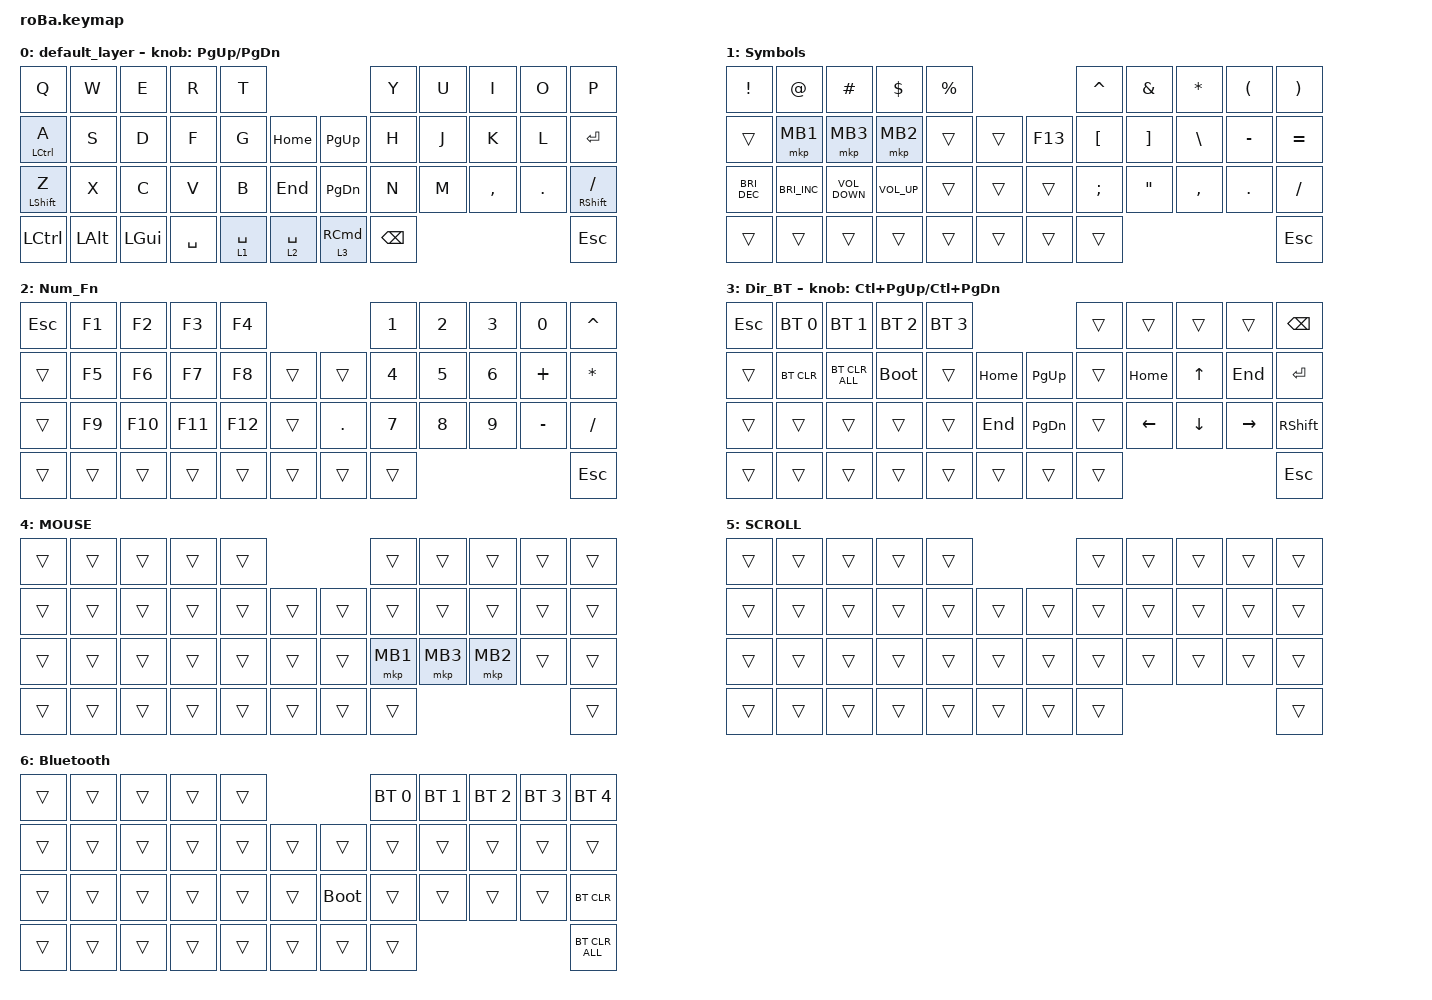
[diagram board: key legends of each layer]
#include <behaviors.dtsi>
#include <dt-bindings/zmk/bt.h>
#include <dt-bindings/zmk/keys.h>
#include <dt-bindings/zmk/pointing.h>

#define MOUSE 4
#define SCROLL 5
#define NUM 6

&mt {
    flavor = "balanced";
    quick-tap-ms = <0>;
};

/ {
    combos {
        compatible = "zmk,combos";

        tab {
            bindings = <&kp TAB>;
            key-positions = <11 12>;
        };

        shift_tab {
            bindings = <&kp LS(TAB)>;
            key-positions = <12 13>;
        };

        muhennkann {
            bindings = <&to_layer_0 INT_MUHENKAN>;
            key-positions = <11 10>;
        };

        double_quotation {
            bindings = <&kp DOUBLE_QUOTES>;
            key-positions = <20 21>;
        };

        eq {
            bindings = <&kp EQUAL>;
            key-positions = <24 25>;
        };
    };

    macros {
        to_layer_0: to_layer_0 {
            compatible = "zmk,behavior-macro-one-param";
            #binding-cells = <1>;
            bindings = <&to 0 &macro_param_1to1 &kp MACRO_PLACEHOLDER>;
            label = "TO_LAYER_0";
        };
    };

    behaviors {
        lt_to_layer_0: lt_to_layer_0 {
            compatible = "zmk,behavior-hold-tap";
            label = "LAYER_TAP_TO_0";
            bindings = <&mo>, <&to_layer_0>;

            #binding-cells = <2>;
            tapping-term-ms = <200>;
        };
    };

    keymap {
        compatible = "zmk,keymap";

        default_layer {
            bindings = <
&kp Q               &kp W         &kp E         &kp R      &kp T                                              &kp Y          &kp U  &kp I      &kp O       &kp P
&mt LEFT_CONTROL A  &kp S         &kp D         &kp F      &kp G        &kp HOME         &kp PAGE_UP          &kp H          &kp J  &kp K      &kp L       &kp ENTER
&mt LEFT_SHIFT Z    &kp X         &kp C         &kp V      &kp B        &kp END          &kp PAGE_DOWN        &kp N          &kp M  &kp COMMA  &kp PERIOD  &mt RIGHT_SHIFT SLASH
&kp LEFT_CONTROL    &kp LEFT_ALT  &kp LEFT_GUI  &kp SPACE  &lt 1 SPACE  &lt 2 SPACE      &lt 3 RIGHT_COMMAND  &kp BACKSPACE                                &kp ESC
            >;

            sensor-bindings = <&inc_dec_kp PG_UP PAGE_DOWN>;
        };

        Symbols {
            bindings = <
&kp EXCLAMATION       &kp AT_SIGN           &kp HASH           &kp DOLLAR       &kp PERCENT                       &kp CARET         &kp AMPERSAND      &kp ASTERISK   &kp LEFT_PARENTHESIS  &kp RIGHT_PARENTHESIS
&trans                &mkp MB1              &mkp MB3           &mkp MB2         &trans       &trans      &kp F13  &kp LEFT_BRACKET  &kp RIGHT_BRACKET  &kp BACKSLASH  &kp MINUS             &kp EQUAL
&kp C_BRIGHTNESS_DEC  &kp C_BRIGHTNESS_INC  &kp C_VOLUME_DOWN  &kp C_VOLUME_UP  &trans       &trans      &trans   &kp SEMICOLON     &kp DOUBLE_QUOTES  &kp COMMA      &kp PERIOD            &kp SLASH
&trans                &trans                &trans             &trans           &trans       &trans      &trans   &trans                                                                    &kp ESC
            >;
        };

        Num_Fn {
            bindings = <
&kp ESC  &kp F1  &kp F2   &kp F3   &kp F4                           &kp NUMBER_1  &kp NUMBER_2  &kp NUMBER_3  &kp NUMBER_0  &kp CARET
&trans   &kp F5  &kp F6   &kp F7   &kp F8   &trans      &trans      &kp NUMBER_4  &kp NUMBER_5  &kp NUMBER_6  &kp PLUS      &kp ASTERISK
&trans   &kp F9  &kp F10  &kp F11  &kp F12  &trans      &kp PERIOD  &kp NUMBER_7  &kp NUMBER_8  &kp NUMBER_9  &kp MINUS     &kp SLASH
&trans   &trans  &trans   &trans   &trans   &trans      &trans      &trans                                                  &kp ESC
            >;
        };

        Dir_BT {
            bindings = <
&kp ESCAPE  &bt BT_SEL 0  &bt BT_SEL 1    &bt BT_SEL 2  &bt BT_SEL 3                               &trans  &trans          &trans          &trans           &kp BACKSPACE
&trans      &bt BT_CLR    &bt BT_CLR_ALL  &bootloader   &trans        &kp HOME      &kp PAGE_UP    &trans  &kp HOME        &kp UP_ARROW    &kp END          &kp ENTER
&trans      &trans        &trans          &trans        &trans        &kp END       &kp PAGE_DOWN  &trans  &kp LEFT_ARROW  &kp DOWN_ARROW  &kp RIGHT_ARROW  &kp RIGHT_SHIFT
&trans      &trans        &trans          &trans        &trans        &trans        &trans         &trans                                                   &kp ESC
            >;

            sensor-bindings = <&inc_dec_kp LC(PAGE_UP) LC(PAGE_DOWN)>;
        };

        MOUSE {
            bindings = <
&trans  &trans  &trans  &trans  &trans                      &trans    &trans    &trans    &trans  &trans
&trans  &trans  &trans  &trans  &trans  &trans      &trans  &trans    &trans    &trans    &trans  &trans
&trans  &trans  &trans  &trans  &trans  &trans      &trans  &mkp MB1  &mkp MB3  &mkp MB2  &trans  &trans
&trans  &trans  &trans  &trans  &trans  &trans      &trans  &trans                                &trans
            >;
        };

        SCROLL {
            bindings = <
&trans  &trans  &trans  &trans  &trans                      &trans  &trans  &trans  &trans  &trans
&trans  &trans  &trans  &trans  &trans  &trans      &trans  &trans  &trans  &trans  &trans  &trans
&trans  &trans  &trans  &trans  &trans  &trans      &trans  &trans  &trans  &trans  &trans  &trans
&trans  &trans  &trans  &trans  &trans  &trans      &trans  &trans                          &trans
            >;
        };

        Bluetooth {
            bindings = <
&trans  &trans  &trans  &trans  &trans                           &bt BT_SEL 0  &bt BT_SEL 1  &bt BT_SEL 2  &bt BT_SEL 3  &bt BT_SEL 4
&trans  &trans  &trans  &trans  &trans  &trans      &trans       &trans        &trans        &trans        &trans        &trans
&trans  &trans  &trans  &trans  &trans  &trans      &bootloader  &trans        &trans        &trans        &trans        &bt BT_CLR
&trans  &trans  &trans  &trans  &trans  &trans      &trans       &trans                                                  &bt BT_CLR_ALL
            >;
        };
    };
};
